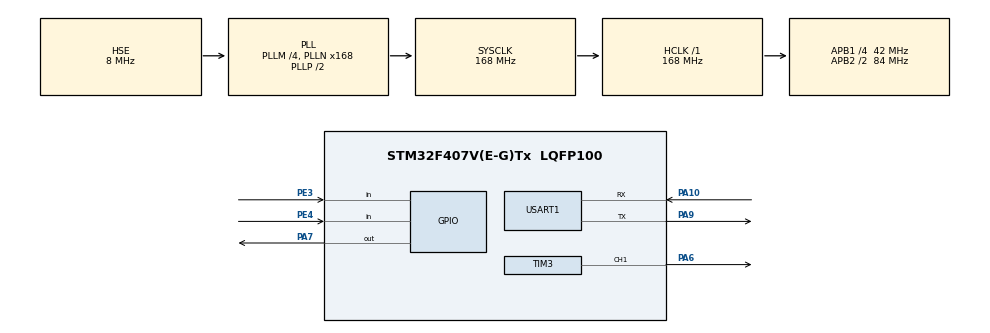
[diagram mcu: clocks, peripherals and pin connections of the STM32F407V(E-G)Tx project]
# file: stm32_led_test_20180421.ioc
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Mcu.Family=STM32F4
Mcu.Name=STM32F407V(E-G)Tx
Mcu.Package=LQFP100
NVIC.PriorityGroup=NVIC_PRIORITYGROUP_4
NVIC.USART1_IRQn=true\:0\:0\:false\:false\:true\:true
PA10.Mode=Asynchronous
PA10.Signal=USART1_RX
PA6.Signal=S_TIM3_CH1
PA7.Signal=GPIO_Output
PA9.Mode=Asynchronous
PA9.Signal=USART1_TX
PC14-OSC32_IN.Mode=LSE-External-Oscillator
PC14-OSC32_IN.Signal=RCC_OSC32_IN
PC15-OSC32_OUT.Mode=LSE-External-Oscillator
PC15-OSC32_OUT.Signal=RCC_OSC32_OUT
PE3.Signal=GPIO_Input
PE4.Signal=GPIO_Input
PH0-OSC_IN.Mode=HSE-External-Oscillator
PH0-OSC_IN.Signal=RCC_OSC_IN
PH1-OSC_OUT.Mode=HSE-External-Oscillator
PH1-OSC_OUT.Signal=RCC_OSC_OUT
ProjectManager.HeapSize=0x200
ProjectManager.StackSize=0x400
ProjectManager.TargetToolchain=TrueSTUDIO
RCC.48MHZClocksFreq_Value=84000000
RCC.AHBFreq_Value=168000000
RCC.APB1CLKDivider=RCC_HCLK_DIV4
RCC.APB1Freq_Value=42000000
RCC.APB1TimFreq_Value=84000000
RCC.APB2CLKDivider=RCC_HCLK_DIV2
RCC.APB2Freq_Value=84000000
RCC.APB2TimFreq_Value=168000000
RCC.CortexFreq_Value=168000000
RCC.HCLKFreq_Value=168000000
RCC.HSE_VALUE=8000000
RCC.HSI_VALUE=16000000
RCC.PLLM=4
RCC.PLLN=168
RCC.PLLSourceVirtual=RCC_PLLSOURCE_HSE
RCC.SYSCLKFreq_VALUE=168000000
RCC.SYSCLKSource=RCC_SYSCLKSOURCE_PLLCLK
RCC.VCOOutputFreq_Value=336000000
SH.S_TIM3_CH1.0=TIM3_CH1,PWM Generation1 CH1
TIM3.Channel-PWM\ Generation1\ CH1=TIM_CHANNEL_1
TIM3.Period=1000
TIM3.Prescaler=167
TIM3.Pulse-PWM\ Generation1\ CH1=200
USART1.VirtualMode=VM_ASYNC
board=stm32_led_test_20180421

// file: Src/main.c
/**
  ******************************************************************************
  * @file           : main.c
  * @brief          : Main program body
  ******************************************************************************
  ** This notice applies to any and all portions of this file
  * that are not between comment pairs USER CODE BEGIN and
  * USER CODE END. Other portions of this file, whether
  * inserted by the user or by software development tools
  * are owned by their respective copyright owners.
  *
  * COPYRIGHT(c) 2018 STMicroelectronics
  *
  * Redistribution and use in source and binary forms, with or without modification,
  * are permitted provided that the following conditions are met:
  *   1. Redistributions of source code must retain the above copyright notice,
  *      this list of conditions and the following disclaimer.
  *   2. Redistributions in binary form must reproduce the above copyright notice,
  *      this list of conditions and the following disclaimer in the documentation
  *      and/or other materials provided with the distribution.
  *   3. Neither the name of STMicroelectronics nor the names of its contributors
  *      may be used to endorse or promote products derived from this software
  *      without specific prior written permission.
  *
  * THIS SOFTWARE IS PROVIDED BY THE COPYRIGHT HOLDERS AND CONTRIBUTORS "AS IS"
  * AND ANY EXPRESS OR IMPLIED WARRANTIES, INCLUDING, BUT NOT LIMITED TO, THE
  * IMPLIED WARRANTIES OF MERCHANTABILITY AND FITNESS FOR A PARTICULAR PURPOSE ARE
  * DISCLAIMED. IN NO EVENT SHALL THE COPYRIGHT HOLDER OR CONTRIBUTORS BE LIABLE
  * FOR ANY DIRECT, INDIRECT, INCIDENTAL, SPECIAL, EXEMPLARY, OR CONSEQUENTIAL
  * DAMAGES (INCLUDING, BUT NOT LIMITED TO, PROCUREMENT OF SUBSTITUTE GOODS OR
  * SERVICES; LOSS OF USE, DATA, OR PROFITS; OR BUSINESS INTERRUPTION) HOWEVER
  * CAUSED AND ON ANY THEORY OF LIABILITY, WHETHER IN CONTRACT, STRICT LIABILITY,
  * OR TORT (INCLUDING NEGLIGENCE OR OTHERWISE) ARISING IN ANY WAY OUT OF THE USE
  * OF THIS SOFTWARE, EVEN IF ADVISED OF THE POSSIBILITY OF SUCH DAMAGE.
  *
  ******************************************************************************
  */
#include "main.h"
#include "stm32f4xx_hal.h"
#include "tim.h"
#include "usart.h"
#include "gpio.h"

/* USER CODE BEGIN Includes */
#include "../user_code/devices/Inc/dev_out_pwm.h"
/* USER CODE END Includes */

/* USER CODE BEGIN PV */
/* Private variables ---------------------------------------------------------*/

/* USER CODE END PV */

void SystemClock_Config(void);

/* USER CODE BEGIN PFP */
/* Private function prototypes -----------------------------------------------*/

/* USER CODE END PFP */

/* USER CODE BEGIN 0 */
int _write(int fd, char *ptr, int len) {
	HAL_UART_Transmit(&huart1, (uint8_t*) ptr, len, 0xffff);
	return len;
}
uint8_t ch;
uint8_t rxbuf[10];
uint8_t rx_c=0;
uint32_t count = 0;
#define DATA_SIZE	(4U)

/* pwm duty */
uint32_t led_pwm_duty = 500;
uint32_t led_pwm_pulse = 0;

typedef struct tag_UartFrame {
	uint8_t start_frame;
	uint8_t verify_frame;
	uint8_t stop_frame;
	uint8_t length;
	uint8_t count;
	uint8_t data[DATA_SIZE];

}uart_frame;

/* uart recv frame */
uart_frame recv_frame =
{
		.start_frame = 0xAA,
		.verify_frame = 0x00,
		.stop_frame = 0xFF,
		.length = 4,
		.count = 0,
		.data = {0}
};

enum FrameState{fs_init, fs_start, fs_verify, fs_stop};

enum FrameState frame_state = fs_init;

void HAL_UART_RxCpltCallback(UART_HandleTypeDef *UartHandle) {

	if (UartHandle == &huart1) {

		//HAL_UART_Receive_IT(&huart1,&ch,1);
		/* state machine */
		switch(frame_state)
		{
		case fs_init:
			if(recv_frame.start_frame == ch)
			{
				frame_state = fs_start;
				printf("now init goto start\n");
			}
			break;
		case fs_start:
			recv_frame.data[recv_frame.count] = ch;
			recv_frame.count++;
			printf("now recv data[%d]\n", recv_frame.count);
			if(recv_frame.count >= recv_frame.length)
			{
				frame_state = fs_verify;
				recv_frame.count = 0;
				printf("start goto verify\n");
			}
			break;
		case fs_verify:
			recv_frame.verify_frame = ch;
			frame_state = fs_stop;
			printf("now verify goto stop\n");
			break;
		case fs_stop:
			if(recv_frame.stop_frame == ch)
			{
				//led_pwm_duty = 0;
				frame_state = fs_init;
				printf("now stop goto init\n");
				uint32_t data_sum = 0;
				uint8_t verify_sum = 0;
				for(uint8_t i = 0; i < DATA_SIZE; i++)
				{
					data_sum += (uint32_t)recv_frame.data[i];
				}
				verify_sum = (uint8_t)(recv_frame.start_frame +
						     recv_frame.stop_frame + data_sum);
				printf("verity_sum: %d data_sum: %d verify:%d\n", verify_sum, data_sum, recv_frame.verify_frame);
				if(verify_sum == recv_frame.verify_frame)
				{
					led_pwm_duty = ((uint32_t)recv_frame.data[0])<<24 |
								   ((uint32_t)recv_frame.data[1])<<16 |
								   ((uint32_t)recv_frame.data[2])<<8 |
								   ((uint32_t)recv_frame.data[3]);

					printf("led duty:%d\n", led_pwm_duty);
					for(uint8_t i = 0; i < 4; i++)
					{
						printf("data[%d]: %d\n",i,recv_frame.data[i]);
					}
				}
			}
			break;
		default:
			break;
		}

		rxbuf[rx_c++]=ch;
		if(ch != 0xAA)
		{
			puts(".");
		}
		else
		{
			count++;
			printf("I'm AA %d\n", count);
		}
		if(rx_c>=10)
		{
			rx_c=0;
		}
		HAL_UART_Receive_IT(&huart1,&ch,1);
	}
}
/* USER CODE END 0 */

int main(void)
{

  /* MCU Configuration----------------------------------------------------------*/

  /* Reset of all peripherals, Initializes the Flash interface and the Systick. */
  HAL_Init();

  /* Configure the system clock */
  SystemClock_Config();

  /* Initialize all configured peripherals */
  MX_GPIO_Init();
  MX_TIM3_Init();
  MX_USART1_UART_Init();
  /* USER CODE BEGIN 2 */
  HAL_TIM_PWM_Start(&htim3, TIM_CHANNEL_1);
  HAL_UART_MspInit(&huart1);
  if (HAL_UART_Receive_IT(&huart1, &ch, 1) != HAL_OK)
  		Error_Handler();

  uint32_t pwm_pulse = 0;
  uint32_t step = 5;
#if 0
  dev_out_pwm_set_period(20);
#endif
  /* USER CODE END 2 */

  /* Infinite loop */
  /* USER CODE BEGIN WHILE */
	while (1) {
#if 0
		printf("hello\r\n");
		HAL_GPIO_WritePin(GPIOA, GPIO_PIN_7, GPIO_PIN_RESET);
		HAL_Delay(500);
		HAL_GPIO_WritePin(GPIOA, GPIO_PIN_7, GPIO_PIN_SET);
		HAL_Delay(500);

		dev_out_pwm_set_pulse(pwm_pulse);
		pwm_pulse += step;
		if((1000 == pwm_pulse) || (0 == pwm_pulse))
		{
			HAL_GPIO_TogglePin(GPIOA, GPIO_PIN_7);
			step = -step;
		}
#endif
		dev_out_pwm_set_pulse(led_pwm_duty);
		HAL_Delay(5);

  /* USER CODE END WHILE */

	}

}

void SystemClock_Config(void)
{

  RCC_OscInitTypeDef RCC_OscInitStruct;
  RCC_ClkInitTypeDef RCC_ClkInitStruct;

    /**Configure the main internal regulator output voltage
    */
  __HAL_RCC_PWR_CLK_ENABLE();

  __HAL_PWR_VOLTAGESCALING_CONFIG(PWR_REGULATOR_VOLTAGE_SCALE1);

    /**Initializes the CPU, AHB and APB busses clocks
    */
  RCC_OscInitStruct.OscillatorType = RCC_OSCILLATORTYPE_HSE;
  RCC_OscInitStruct.HSEState = RCC_HSE_ON;
  RCC_OscInitStruct.PLL.PLLState = RCC_PLL_ON;
  RCC_OscInitStruct.PLL.PLLSource = RCC_PLLSOURCE_HSE;
  RCC_OscInitStruct.PLL.PLLM = 4;
  RCC_OscInitStruct.PLL.PLLN = 168;
  RCC_OscInitStruct.PLL.PLLP = RCC_PLLP_DIV2;
  RCC_OscInitStruct.PLL.PLLQ = 4;
  if (HAL_RCC_OscConfig(&RCC_OscInitStruct) != HAL_OK)
  {
    _Error_Handler(__FILE__, __LINE__);
  }

    /**Initializes the CPU, AHB and APB busses clocks
    */
  RCC_ClkInitStruct.ClockType = RCC_CLOCKTYPE_HCLK|RCC_CLOCKTYPE_SYSCLK
                              |RCC_CLOCKTYPE_PCLK1|RCC_CLOCKTYPE_PCLK2;
  RCC_ClkInitStruct.SYSCLKSource = RCC_SYSCLKSOURCE_PLLCLK;
  RCC_ClkInitStruct.AHBCLKDivider = RCC_SYSCLK_DIV1;
  RCC_ClkInitStruct.APB1CLKDivider = RCC_HCLK_DIV4;
  RCC_ClkInitStruct.APB2CLKDivider = RCC_HCLK_DIV2;

  if (HAL_RCC_ClockConfig(&RCC_ClkInitStruct, FLASH_LATENCY_5) != HAL_OK)
  {
    _Error_Handler(__FILE__, __LINE__);
  }

    /**Configure the Systick interrupt time
    */
  HAL_SYSTICK_Config(HAL_RCC_GetHCLKFreq()/1000);

    /**Configure the Systick
    */
  HAL_SYSTICK_CLKSourceConfig(SYSTICK_CLKSOURCE_HCLK);

  /* SysTick_IRQn interrupt configuration */
  HAL_NVIC_SetPriority(SysTick_IRQn, 0, 0);
}

void _Error_Handler(char *file, int line)
{
	while (1) {
	}
}

/************************ (C) COPYRIGHT STMicroelectronics *****END OF FILE****/
